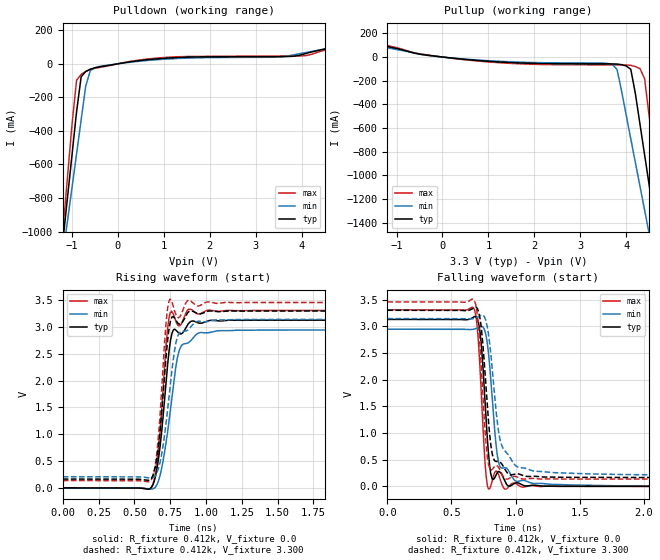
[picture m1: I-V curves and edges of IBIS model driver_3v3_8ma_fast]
| Copyright (C)2014-2024 Gowin Semiconductor Corporation.
| All rights reserved.
| File Title: IBIS file
| Tool Version: V1.9.9.03 (64-bit)
| Part Number: GW1NR-LV9QN88PC6/I5
| Device: GW1NR-9
| Device Version: C
| Created Time: Mon Jun 16 15:14:52 2025
[IBIS ver] 5.0
[File Rev] 1.0
[File Name] sha256_processor.ibs
[Date] Mon Jun 16 15:14:52 2025
[Source] Pre_simulation netlist
[Notes] Version 1.0 IBIS Model
[Copyright] Copyright 2024, Gowinsemi inc.
|   Component GW1NR-9C
[Component] GW1NR-9C
[Manufacturer] Gowinsemi Inc.
[Package]
| variable   typ   min   max
R_pkg   2.000m   1.000m   4.000m
L_pkg   0.200nH   0.100nH   0.400nH
C_pkg   2.000pF   1.000pF   4.000pF
[Pin]  signal_name   model_name   R_pin   L_pin   C_pin
17   uart_tx   driver_3v3_8ma_fast
11   led0   driver_3v3_8ma_fast
| Models and submodels in the file (1): driver_3v3_8ma_fast (Output)
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|   Model driver_3v3_8ma_fast
[Model] driver_3v3_8ma_fast
Model_type Output
Polarity   Non-Inverting
C_comp   1.073pF   0.936pF   1.224pF
C_comp_pullup   0.206pF   0.144pF   0.291pF
C_comp_pulldown   0.828pF   0.751pF   0.897pF
[Temperature Range]   25.000   0.125k   -40.000
[Voltage Range]   3.300V   3.135V   3.465V
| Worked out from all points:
|   slope of the pulldown table from 0 to 0.495 V, typ, clamps not added: 24.9 ohm
|   slope of the pullup table from 0 to 0.495 V, typ, clamps not added: 24.3 ohm
|   rising waveform, R_fixture 0.412k, V_fixture 0.0: 20-80 % time 67.5ps typ, 89.5ps min, 54.1ps max; typ from 0 V to 3.13 V
|   rising waveform, R_fixture 0.412k, V_fixture 3.300: 20-80 % time 60.8ps typ, 79.3ps min, 50.3ps max; typ from 0.165 V to 3.3 V
|   falling waveform, R_fixture 0.412k, V_fixture 0.0: 20-80 % time 50.6ps typ, 62.8ps min, 44.1ps max; typ from 3.13 V to 0 V
|   falling waveform, R_fixture 0.412k, V_fixture 3.300: 20-80 % time 61.2ps typ, 84.9ps min, 51.8ps max; typ from 3.3 V to 0.165 V
[Pulldown]
|Voltage   I(typ)   I(min)   I(max)
-3.3V     -6.514A    -5.385A    -7.721A
-1.2V     -1.063A    -1.142A    -1.003A
-1.1V     -804.3mA   -941.2mA   -683.8mA
-900mV    -286.3mA   -537.5mA   -98.37mA
-800mV    -77.51mA   -333.5mA   -62.89mA
-700mV    -46.21mA   -131.9mA   -44.87mA
-600mV    -32.42mA   -40.15mA   -33.32mA
-500mV    -23.62mA   -24.09mA   -26.81mA
1.1V      34.39mA    28.82mA    39.1mA
4.1V      61.97mA    67.54mA    49.3mA
6.2V      179.9mA    119.9mA    187.8mA
6.6V      146.7mA    124.5mA    207.1mA
[Pullup]
|Voltage   I(typ)   I(min)   I(max)
-3.3V     167.6mA    144.2mA    217.7mA
-2.8V     193.9mA    165.5mA    214.9mA
500mV     -20.53mA   -17.58mA   -23.68mA
3.7V      -58.3mA    -63.73mA   -66.59mA
3.8V      -59.5mA    -104.8mA   -66.68mA
4.1V      -103.9mA   -692.6mA   -70.58mA
4.2V      -309.8mA   -892.8mA   -80.6mA
4.4V      -825.2mA   -1.293A    -181.3mA
4.5V      -1.083A    -1.494A    -498.7mA
4.6V      -1.341A    -1.695A    -816.2mA
4.8V      -1.858A    -2.099A    -1.453A
6.6V      -6.533A    -5.737A    -7.213A
[Ramp]
| variable   typ   min   max
dV/dt_r   1.248/97.781p   1.112/0.109n   1.384/88.763p
dV/dt_f   1.149/87.747p   1.003/93.329p   1.267/84.418p
R_load = 50.000
[Rising Waveform]
R_fixture= 0.412k
V_fixture= 0.0
|time   V(typ)   V(min)   V(max)
0s        0V         1.943uV    0V
617ps     2.701mV    -23.1mV    6.561mV
667ps     518.2mV    120.1mV    667.4mV
729ps     2.21V      988.2mV    2.906V
759ps     2.844V     1.619V     3.294V
791ps     2.939V     2.287V     3.099V
824ps     2.87V      2.634V     3.045V
877ps     3.064V     2.708V     3.331V
964ps     3.071V     2.897V     3.252V
5ns       3.129V     2.945V     3.309V
[Rising Waveform]
R_fixture= 0.412k
V_fixture= 3.300
|time   V(typ)   V(min)   V(max)
0s        165.2mV    207.9mV    136.6mV
617ps     170.6mV    183.3mV    145.9mV
657ps     565.5mV    275.4mV    644.9mV
679ps     1.061V     473.6mV    1.348V
720ps     2.405V     1.182V     3.045V
749ps     3.074V     1.879V     3.521V
800ps     3.085V     2.815V     3.186V
877ps     3.279V     2.956V     3.502V
943ps     3.248V     3.107V     3.391V
5ns       3.3V       3.144V     3.458V
[Falling Waveform]
R_fixture= 0.412k
V_fixture= 0.0
|time   V(typ)   V(min)   V(max)
0s        3.129V     2.946V     3.309V
671ps     3.172V     2.945V     3.347V
699ps     3.149V     2.967V     3.035V
723ps     2.887V     2.996V     2.201V
759ps     1.714V     2.925V     540.5mV
789ps     610.2mV    2.495V     -45.96mV
816ps     150.3mV    1.719V     94.01mV
868ps     279.3mV    444.1mV    217.8mV
1.011ns   68.88mV    93.16mV    39.02mV
5ns       133.6uV    251.4uV    75.06uV
[Falling Waveform]
R_fixture= 0.412k
V_fixture= 3.300
|time   V(typ)   V(min)   V(max)
0s        3.3V       3.145V     3.458V
680ps     3.358V     3.147V     3.48V
709ps     3.29V      3.18V      3.052V
733ps     2.967V     3.211V     2.22V
785ps     1.332V     2.913V     466.6mV
816ps     631.2mV    2.255V     316.1mV
868ps     469mV      1.016V     354mV
930ps     273mV      632.2mV    135.5mV
1.402ns   170.4mV    247.1mV    138.9mV
5ns       165.4mV    208.2mV    136.7mV
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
